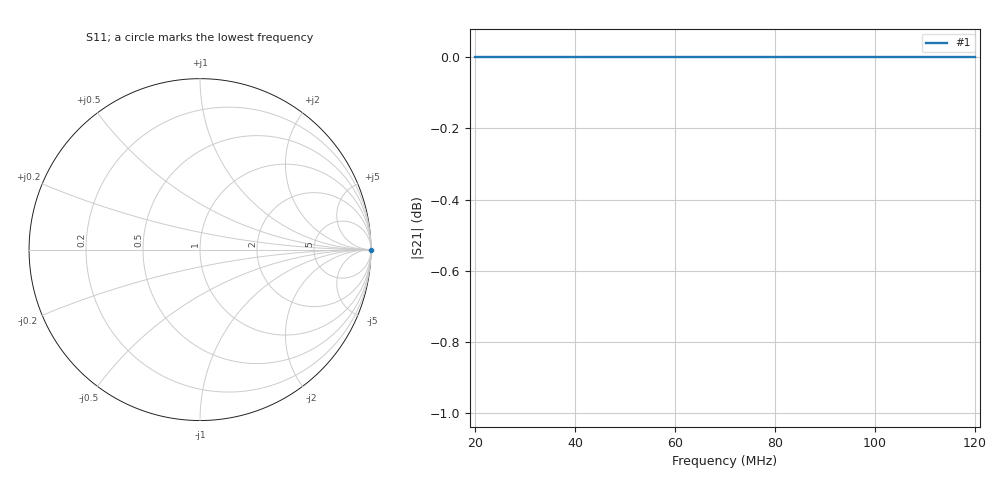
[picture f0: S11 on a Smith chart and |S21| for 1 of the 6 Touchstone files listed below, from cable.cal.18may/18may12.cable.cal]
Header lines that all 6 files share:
! Anritsu VNA Master:  Model: MS2036C/10/77
! SN:  1601066
! Existing Calibration Information:
! TYPE:  Current Settings,  Active Cal Settings
! # POINTS:  500,  500
! START FREQ:  20.000 MHz,  20.000 MHz
! STOP FREQ:  120.000 MHz,  120.000 MHz
! SOURCE POWER:  High,  High
! IFBW:  50 Hz,  50 Hz
! AVG FACTOR:  1 ,  1
! REF PLANE 1:  0 mm,  0 mm
! REF PLANE 2:  0 mm,  0 mm
! CAL TYPE:  Full S22,  Full S22
! CAL METHOD:  SOLT,  SOLT
! CAL LINE TYPE:  Coax,  Coax
! DUT PORT 1:  K-Conn(M),  K-Conn(M)
! DUT PORT 2:  K-Conn(M),  K-Conn(M)
! CAL STATUS:  OK: Accuracy High,  --
# GHZ S DB R 50.0
! FREQ.GHZ  S11DB  S11A  S21DB  S21A  S12DB  S12A  S22DB  S22A
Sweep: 20 MHz to 120 MHz
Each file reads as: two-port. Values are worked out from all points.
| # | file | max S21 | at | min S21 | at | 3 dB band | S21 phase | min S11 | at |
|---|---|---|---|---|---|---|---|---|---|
| 1 | bot.20.s2p | 0.00 dB | 20 MHz | 0.0 dB | 20 MHz | 20 MHz-120 MHz | 0 deg at 70.1 MHz | 0.0 dB | 20 MHz |
| 2 | top.20.s2p | 0.00 dB | 20 MHz | 0.0 dB | 20 MHz | 20 MHz-120 MHz | 0 deg at 70.1 MHz | 0.0 dB | 20 MHz |
| 3 | top.50.s2p | 0.00 dB | 20 MHz | 0.0 dB | 20 MHz | 20 MHz-120 MHz | 0 deg at 70.1 MHz | 0.0 dB | 20 MHz |
| 4 | top.200.s2p | 0.00 dB | 20 MHz | 0.0 dB | 20 MHz | 20 MHz-120 MHz | 0 deg at 70.1 MHz | 0.0 dB | 20 MHz |
| 5 | uu.20.18may08.s2p | 0.00 dB | 20 MHz | 0.0 dB | 20 MHz | 20 MHz-120 MHz | 0 deg at 70.1 MHz | 0.0 dB | 20 MHz |
| 6 | uu.50.18may08.s2p | 0.00 dB | 20 MHz | 0.0 dB | 20 MHz | 20 MHz-120 MHz | 0 deg at 70.1 MHz | 0.0 dB | 20 MHz |
